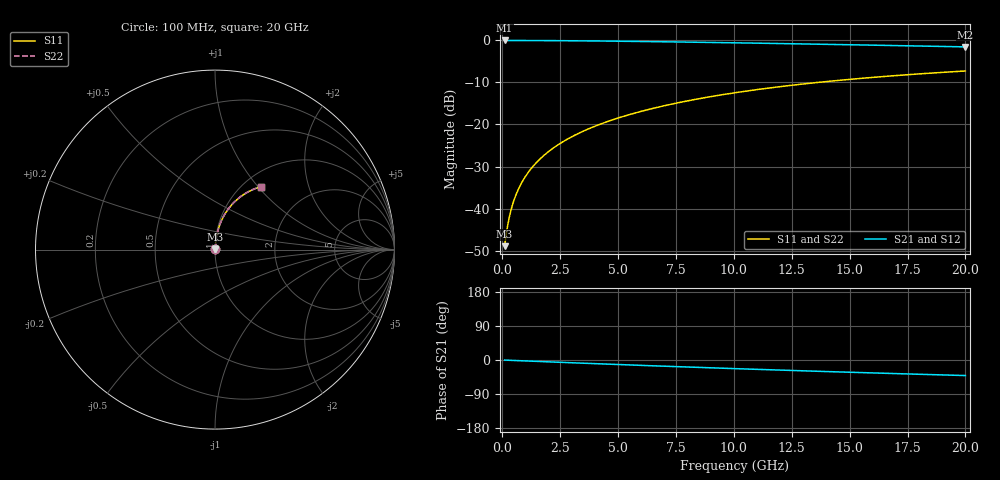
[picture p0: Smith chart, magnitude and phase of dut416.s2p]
! Touchstone file exported from HFSS 2024.1.0
!  File:  C:/UserFiles/LocalFiles/RDL_TSV_Batchsim/temp_RDL_bottom_416_1779683538.aedt
!  Generated:  12:35:09 PM May 25, 2026
!  Design:  RDL_bottom
!  Project:  temp_RDL_bottom_416_1779683538
!  Setup:  Setup1
!  Solution:  Sweep
! Variables:
!  dtsv = 10.80580581um
!  hbump = 3um
!  htsv = 91.57um
!  ldown = 521.84um
!  lrdl = 100um
!  p = 40
!  p1 = 59.92um
!  rhole = 1um
!  t = 450um
!  tdown = 4.28um
!  trdl = 3.915915916um
!  wdown = 17.76um
!  wrdl = 20um
# GHz S MA R 50.000000
! Terminal data exported
! Port[1] = RDL1_T1
! Port[2] = RDL1_T2
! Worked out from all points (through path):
!   200 points, 100 MHz to 20 GHz, reference 50 ohm
!   highest |S21| = -0.02 dB at 100 MHz (marker M1); lowest = -1.5 dB at 20 GHz (marker M2)
!   group delay of S21, straight-line fit = 5.68 ps
!   lowest |S11| = -48.9 dB at 100 MHz (marker M3), VSWR 1.01, Z = 50.3 + j0.25 ohm
!   |S11| at or under -10 dB: start of sweep to 13.63 GHz
!   |S22| runs from -48.9 to -7.3 dB; largest |S21 - S12| = 3.4e-15
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0.1  0.003573 44.2  0.9974 -0.3  0.9974 -0.3  0.003573 44.2
! Gamma 0 0 0 0
! Port Impedance 50 0 50 0
0.2  0.005618 61.8  0.9973 -0.5  0.9973 -0.5  0.005618 61.8
0.3  0.007872 69.4  0.9972 -0.8  0.9972 -0.8  0.007872 69.4
0.4  0.01017 73.4  0.9971 -1.0  0.9971 -1.0  0.01017 73.4
0.5  0.01248 76.0  0.9969 -1.2  0.9969 -1.2  0.01248 76.0
0.6  0.0148 77.7  0.9968 -1.5  0.9968 -1.5  0.01479 77.7
0.8  0.01944 79.9  0.9965 -2.0  0.9965 -2.0  0.01944 79.9
1.1  0.02645 81.7  0.9959 -2.7  0.9959 -2.7  0.02645 81.7
1.5  0.03585 82.8  0.995 -3.7  0.995 -3.7  0.03585 82.8
1.8  0.04292 83.1  0.9941 -4.4  0.9941 -4.4  0.04293 83.1
2.1  0.05002 83.2  0.9931 -5.1  0.9931 -5.1  0.05002 83.2
2.7  0.06426 83.0  0.9907 -6.6  0.9907 -6.6  0.06427 83.1
3.5  0.08334 82.4  0.9867 -8.5  0.9867 -8.5  0.08335 82.4
4.2  0.1001 81.6  0.9826 -10.1  0.9826 -10.1  0.1001 81.6
5  0.1193 80.5  0.9773 -12.0  0.9773 -12.0  0.1193 80.5
5.9  0.1408 79.1  0.9708 -14.0  0.9708 -14.0  0.1409 79.2
6.8  0.1623 77.6  0.9637 -16.0  0.9637 -16.0  0.1624 77.7
8.4  0.2002 74.8  0.9501 -19.4  0.9501 -19.4  0.2003 74.9
10.1  0.2395 71.7  0.9347 -22.9  0.9347 -22.9  0.2396 71.8
13.4  0.3115 65.6  0.903 -29.4  0.903 -29.4  0.3117 65.7
16.7  0.376 59.6  0.8699 -35.4  0.8699 -35.4  0.3763 59.7
20  0.4325 54.0  0.8367 -41.0  0.8367 -41.0  0.4329 54.1
